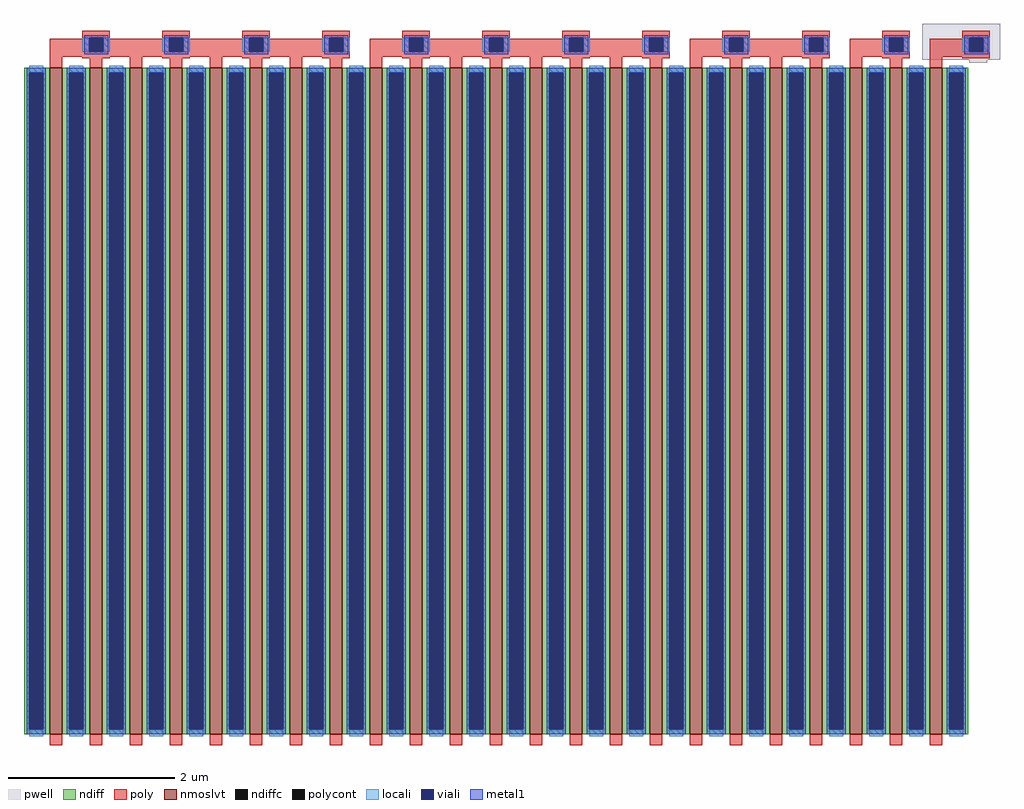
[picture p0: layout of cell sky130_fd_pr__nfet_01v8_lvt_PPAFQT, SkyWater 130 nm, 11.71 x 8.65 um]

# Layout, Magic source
magic
tech sky130A
magscale 1 2
<< pwell >>
rect 1022 819 1209 905
rect 1135 811 1178 819
<< nmoslvt >>
rect -1071 -800 -1041 800
rect -975 -800 -945 800
rect -879 -800 -849 800
rect -783 -800 -753 800
rect -687 -800 -657 800
rect -591 -800 -561 800
rect -495 -800 -465 800
rect -399 -800 -369 800
rect -303 -800 -273 800
rect -207 -800 -177 800
rect -111 -800 -81 800
rect -15 -800 15 800
rect 81 -800 111 800
rect 177 -800 207 800
rect 273 -800 303 800
rect 369 -800 399 800
rect 465 -800 495 800
rect 561 -800 591 800
rect 657 -800 687 800
rect 753 -800 783 800
rect 849 -800 879 800
rect 945 -800 975 800
rect 1041 -800 1071 800
<< ndiff >>
rect -1133 788 -1071 800
rect -1133 -788 -1121 788
rect -1087 -788 -1071 788
rect -1133 -800 -1071 -788
rect -1041 788 -975 800
rect -1041 -788 -1025 788
rect -991 -788 -975 788
rect -1041 -800 -975 -788
rect -945 788 -879 800
rect -945 -788 -929 788
rect -895 -788 -879 788
rect -945 -800 -879 -788
rect -849 788 -783 800
rect -849 -788 -833 788
rect -799 -788 -783 788
rect -849 -800 -783 -788
rect -753 788 -687 800
rect -753 -788 -737 788
rect -703 -788 -687 788
rect -753 -800 -687 -788
rect -657 788 -591 800
rect -657 -788 -641 788
rect -607 -788 -591 788
rect -657 -800 -591 -788
rect -561 788 -495 800
rect -561 -788 -545 788
rect -511 -788 -495 788
rect -561 -800 -495 -788
rect -465 788 -399 800
rect -465 -788 -449 788
rect -415 -788 -399 788
rect -465 -800 -399 -788
rect -369 788 -303 800
rect -369 -788 -353 788
rect -319 -788 -303 788
rect -369 -800 -303 -788
rect -273 788 -207 800
rect -273 -788 -257 788
rect -223 -788 -207 788
rect -273 -800 -207 -788
rect -177 788 -111 800
rect -177 -788 -161 788
rect -127 -788 -111 788
rect -177 -800 -111 -788
rect -81 788 -15 800
rect -81 -788 -65 788
rect -31 -788 -15 788
rect -81 -800 -15 -788
rect 15 788 81 800
rect 15 -788 31 788
rect 65 -788 81 788
rect 15 -800 81 -788
rect 111 788 177 800
rect 111 -788 127 788
rect 161 -788 177 788
rect 111 -800 177 -788
rect 207 788 273 800
rect 207 -788 223 788
rect 257 -788 273 788
rect 207 -800 273 -788
rect 303 788 369 800
rect 303 -788 319 788
rect 353 -788 369 788
rect 303 -800 369 -788
rect 399 788 465 800
rect 399 -788 415 788
rect 449 -788 465 788
rect 399 -800 465 -788
rect 495 788 561 800
rect 495 -788 511 788
rect 545 -788 561 788
rect 495 -800 561 -788
rect 591 788 657 800
rect 591 -788 607 788
rect 641 -788 657 788
rect 591 -800 657 -788
rect 687 788 753 800
rect 687 -788 703 788
rect 737 -788 753 788
rect 687 -800 753 -788
rect 783 788 849 800
rect 783 -788 799 788
rect 833 -788 849 788
rect 783 -800 849 -788
rect 879 788 945 800
rect 879 -788 895 788
rect 929 -788 945 788
rect 879 -800 945 -788
rect 975 788 1041 800
rect 975 -788 991 788
rect 1025 -788 1041 788
rect 975 -800 1041 -788
rect 1071 788 1133 800
rect 1071 -788 1087 788
rect 1121 -788 1133 788
rect 1071 -800 1133 -788
<< ndiffc >>
rect -1121 -788 -1087 788
rect -1025 -788 -991 788
rect -929 -788 -895 788
rect -833 -788 -799 788
rect -737 -788 -703 788
rect -641 -788 -607 788
rect -545 -788 -511 788
rect -449 -788 -415 788
rect -353 -788 -319 788
rect -257 -788 -223 788
rect -161 -788 -127 788
rect -65 -788 -31 788
rect 31 -788 65 788
rect 127 -788 161 788
rect 223 -788 257 788
rect 319 -788 353 788
rect 415 -788 449 788
rect 511 -788 545 788
rect 607 -788 641 788
rect 703 -788 737 788
rect 799 -788 833 788
rect 895 -788 929 788
rect 991 -788 1025 788
rect 1087 -788 1121 788
<< poly >>
rect -993 872 -927 888
rect -993 869 -977 872
rect -1071 838 -977 869
rect -943 869 -927 872
rect -801 872 -735 888
rect -801 869 -785 872
rect -943 838 -785 869
rect -751 869 -735 872
rect -609 872 -543 888
rect -609 869 -593 872
rect -751 838 -593 869
rect -559 869 -543 872
rect -417 872 -351 888
rect -417 869 -401 872
rect -559 838 -401 869
rect -367 838 -351 872
rect -225 872 -159 888
rect -225 869 -209 872
rect -1071 826 -351 838
rect -1071 800 -1041 826
rect -993 822 -927 826
rect -975 800 -945 822
rect -879 800 -849 826
rect -801 822 -735 826
rect -783 800 -753 822
rect -687 800 -657 826
rect -609 822 -543 826
rect -591 800 -561 822
rect -495 800 -465 826
rect -417 822 -351 826
rect -303 838 -209 869
rect -175 869 -159 872
rect -33 872 33 888
rect -33 869 -17 872
rect -175 838 -17 869
rect 17 869 33 872
rect 159 872 225 888
rect 159 869 175 872
rect 17 838 175 869
rect 209 869 225 872
rect 351 872 417 888
rect 351 869 367 872
rect 209 838 367 869
rect 401 838 417 872
rect 543 872 609 888
rect 543 869 559 872
rect -303 826 417 838
rect -399 800 -369 822
rect -303 800 -273 826
rect -225 822 -159 826
rect -207 800 -177 822
rect -111 800 -81 826
rect -33 822 33 826
rect -15 800 15 822
rect 81 800 111 826
rect 159 822 225 826
rect 177 800 207 822
rect 273 800 303 826
rect 351 822 417 826
rect 465 838 559 869
rect 593 869 609 872
rect 735 872 801 888
rect 735 869 751 872
rect 593 838 751 869
rect 785 838 801 872
rect 927 872 993 888
rect 927 869 943 872
rect 465 826 801 838
rect 369 800 399 822
rect 465 800 495 826
rect 543 822 609 826
rect 561 800 591 822
rect 657 800 687 826
rect 735 822 801 826
rect 849 838 943 869
rect 977 838 993 872
rect 1119 872 1185 888
rect 1119 869 1135 872
rect 849 826 993 838
rect 753 800 783 822
rect 849 800 879 826
rect 927 822 993 826
rect 1041 838 1135 869
rect 1169 838 1185 872
rect 1041 826 1185 838
rect 945 800 975 822
rect 1041 800 1071 826
rect 1119 822 1185 826
rect -1071 -826 -1041 -800
rect -975 -826 -945 -800
rect -879 -826 -849 -800
rect -783 -826 -753 -800
rect -687 -826 -657 -800
rect -591 -826 -561 -800
rect -495 -826 -465 -800
rect -399 -826 -369 -800
rect -303 -826 -273 -800
rect -207 -826 -177 -800
rect -111 -826 -81 -800
rect -15 -826 15 -800
rect 81 -826 111 -800
rect 177 -826 207 -800
rect 273 -826 303 -800
rect 369 -826 399 -800
rect 465 -826 495 -800
rect 561 -826 591 -800
rect 657 -826 687 -800
rect 753 -826 783 -800
rect 849 -826 879 -800
rect 945 -826 975 -800
rect 1041 -826 1071 -800
<< polycont >>
rect -977 838 -943 872
rect -785 838 -751 872
rect -593 838 -559 872
rect -401 838 -367 872
rect -209 838 -175 872
rect -17 838 17 872
rect 175 838 209 872
rect 367 838 401 872
rect 559 838 593 872
rect 751 838 785 872
rect 943 838 977 872
rect 1135 838 1169 872
<< locali >>
rect -993 838 -977 872
rect -943 838 -927 872
rect -801 838 -785 872
rect -751 838 -735 872
rect -609 838 -593 872
rect -559 838 -543 872
rect -417 838 -401 872
rect -367 838 -351 872
rect -225 838 -209 872
rect -175 838 -159 872
rect -33 838 -17 872
rect 17 838 33 872
rect 159 838 175 872
rect 209 838 225 872
rect 351 838 367 872
rect 401 838 417 872
rect 543 838 559 872
rect 593 838 609 872
rect 735 838 751 872
rect 785 838 801 872
rect 927 838 943 872
rect 977 838 993 872
rect 1119 838 1135 872
rect 1169 838 1185 872
rect -1121 788 -1087 804
rect -1121 -804 -1087 -788
rect -1025 788 -991 804
rect -1025 -804 -991 -788
rect -929 788 -895 804
rect -929 -804 -895 -788
rect -833 788 -799 804
rect -833 -804 -799 -788
rect -737 788 -703 804
rect -737 -804 -703 -788
rect -641 788 -607 804
rect -641 -804 -607 -788
rect -545 788 -511 804
rect -545 -804 -511 -788
rect -449 788 -415 804
rect -449 -804 -415 -788
rect -353 788 -319 804
rect -353 -804 -319 -788
rect -257 788 -223 804
rect -257 -804 -223 -788
rect -161 788 -127 804
rect -161 -804 -127 -788
rect -65 788 -31 804
rect -65 -804 -31 -788
rect 31 788 65 804
rect 31 -804 65 -788
rect 127 788 161 804
rect 127 -804 161 -788
rect 223 788 257 804
rect 223 -804 257 -788
rect 319 788 353 804
rect 319 -804 353 -788
rect 415 788 449 804
rect 415 -804 449 -788
rect 511 788 545 804
rect 511 -804 545 -788
rect 607 788 641 804
rect 607 -804 641 -788
rect 703 788 737 804
rect 703 -804 737 -788
rect 799 788 833 804
rect 799 -804 833 -788
rect 895 788 929 804
rect 895 -804 929 -788
rect 991 788 1025 804
rect 991 -804 1025 -788
rect 1087 788 1121 804
rect 1087 -804 1121 -788
<< viali >>
rect -977 838 -943 872
rect -785 838 -751 872
rect -593 838 -559 872
rect -401 838 -367 872
rect -209 838 -175 872
rect -17 838 17 872
rect 175 838 209 872
rect 367 838 401 872
rect 559 838 593 872
rect 751 838 785 872
rect 943 838 977 872
rect 1135 838 1169 872
rect -1121 -788 -1087 788
rect -1025 -788 -991 788
rect -929 -788 -895 788
rect -833 -788 -799 788
rect -737 -788 -703 788
rect -641 -788 -607 788
rect -545 -788 -511 788
rect -449 -788 -415 788
rect -353 -788 -319 788
rect -257 -788 -223 788
rect -161 -788 -127 788
rect -65 -788 -31 788
rect 31 -788 65 788
rect 127 -788 161 788
rect 223 -788 257 788
rect 319 -788 353 788
rect 415 -788 449 788
rect 511 -788 545 788
rect 607 -788 641 788
rect 703 -788 737 788
rect 799 -788 833 788
rect 895 -788 929 788
rect 991 -788 1025 788
rect 1087 -788 1121 788
<< metal1 >>
rect -989 872 -931 878
rect -989 838 -977 872
rect -943 838 -931 872
rect -989 832 -931 838
rect -797 872 -739 878
rect -797 838 -785 872
rect -751 838 -739 872
rect -797 832 -739 838
rect -605 872 -547 878
rect -605 838 -593 872
rect -559 838 -547 872
rect -605 832 -547 838
rect -413 872 -355 878
rect -413 838 -401 872
rect -367 838 -355 872
rect -413 832 -355 838
rect -221 872 -163 878
rect -221 838 -209 872
rect -175 838 -163 872
rect -221 832 -163 838
rect -29 872 29 878
rect -29 838 -17 872
rect 17 838 29 872
rect -29 832 29 838
rect 163 872 221 878
rect 163 838 175 872
rect 209 838 221 872
rect 163 832 221 838
rect 355 872 413 878
rect 355 838 367 872
rect 401 838 413 872
rect 355 832 413 838
rect 547 872 605 878
rect 547 838 559 872
rect 593 838 605 872
rect 547 832 605 838
rect 739 872 797 878
rect 739 838 751 872
rect 785 838 797 872
rect 739 832 797 838
rect 931 872 989 878
rect 931 838 943 872
rect 977 838 989 872
rect 931 832 989 838
rect 1123 872 1181 878
rect 1123 838 1135 872
rect 1169 838 1181 872
rect 1123 832 1181 838
rect -1127 788 -1081 800
rect -1127 -788 -1121 788
rect -1087 -788 -1081 788
rect -1127 -800 -1081 -788
rect -1031 788 -985 800
rect -1031 -788 -1025 788
rect -991 -788 -985 788
rect -1031 -800 -985 -788
rect -935 788 -889 800
rect -935 -788 -929 788
rect -895 -788 -889 788
rect -935 -800 -889 -788
rect -839 788 -793 800
rect -839 -788 -833 788
rect -799 -788 -793 788
rect -839 -800 -793 -788
rect -743 788 -697 800
rect -743 -788 -737 788
rect -703 -788 -697 788
rect -743 -800 -697 -788
rect -647 788 -601 800
rect -647 -788 -641 788
rect -607 -788 -601 788
rect -647 -800 -601 -788
rect -551 788 -505 800
rect -551 -788 -545 788
rect -511 -788 -505 788
rect -551 -800 -505 -788
rect -455 788 -409 800
rect -455 -788 -449 788
rect -415 -788 -409 788
rect -455 -800 -409 -788
rect -359 788 -313 800
rect -359 -788 -353 788
rect -319 -788 -313 788
rect -359 -800 -313 -788
rect -263 788 -217 800
rect -263 -788 -257 788
rect -223 -788 -217 788
rect -263 -800 -217 -788
rect -167 788 -121 800
rect -167 -788 -161 788
rect -127 -788 -121 788
rect -167 -800 -121 -788
rect -71 788 -25 800
rect -71 -788 -65 788
rect -31 -788 -25 788
rect -71 -800 -25 -788
rect 25 788 71 800
rect 25 -788 31 788
rect 65 -788 71 788
rect 25 -800 71 -788
rect 121 788 167 800
rect 121 -788 127 788
rect 161 -788 167 788
rect 121 -800 167 -788
rect 217 788 263 800
rect 217 -788 223 788
rect 257 -788 263 788
rect 217 -800 263 -788
rect 313 788 359 800
rect 313 -788 319 788
rect 353 -788 359 788
rect 313 -800 359 -788
rect 409 788 455 800
rect 409 -788 415 788
rect 449 -788 455 788
rect 409 -800 455 -788
rect 505 788 551 800
rect 505 -788 511 788
rect 545 -788 551 788
rect 505 -800 551 -788
rect 601 788 647 800
rect 601 -788 607 788
rect 641 -788 647 788
rect 601 -800 647 -788
rect 697 788 743 800
rect 697 -788 703 788
rect 737 -788 743 788
rect 697 -800 743 -788
rect 793 788 839 800
rect 793 -788 799 788
rect 833 -788 839 788
rect 793 -800 839 -788
rect 889 788 935 800
rect 889 -788 895 788
rect 929 -788 935 788
rect 889 -800 935 -788
rect 985 788 1031 800
rect 985 -788 991 788
rect 1025 -788 1031 788
rect 985 -800 1031 -788
rect 1081 788 1127 800
rect 1081 -788 1087 788
rect 1121 -788 1127 788
rect 1081 -800 1127 -788
<< properties >>
string gencell sky130_fd_pr__nfet_01v8_lvt
string library sky130
string parameters w 8 l 0.150 m 1 nf 23 diffcov 100 polycov 100 guard 0 glc 1 grc 1 gtc 1 gbc 1 tbcov 100 rlcov 100 topc 1 botc 1 poverlap 0 doverlap 1 lmin 0.15 wmin 0.42 compatible {sky130_fd_pr__nfet_01v8 sky130_fd_pr__nfet_01v8_lvt  sky130_fd_bs_flash__special_sonosfet_star  sky130_fd_pr__nfet_g5v0d10v5 sky130_fd_pr__nfet_05v0_nvt  sky130_fd_pr__nfet_03v3_nvt} full_metal 0 viasrc 100 viadrn 100 viagate 100 viagb 0 viagr 0 viagl 0 viagt 0
<< end >>
